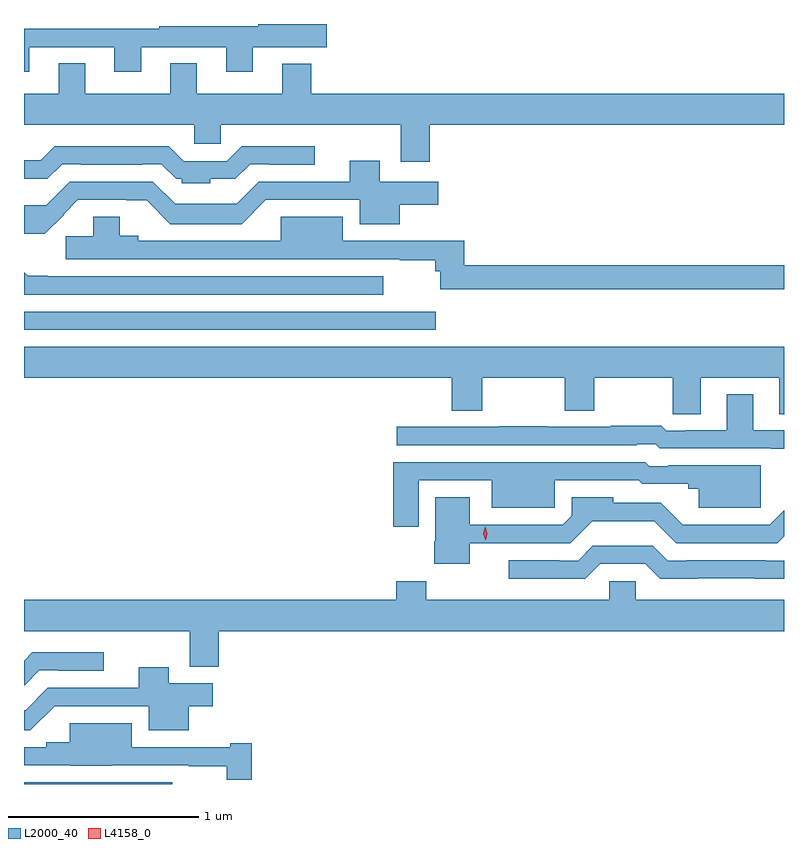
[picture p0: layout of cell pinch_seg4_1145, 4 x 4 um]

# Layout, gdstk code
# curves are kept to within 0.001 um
import gdstk
lib = gdstk.Library(unit=1e-6, precision=1e-09)
def R(c, l, rs):  # rectangles x0, y0, x1, y1
    for r in rs: c.add(gdstk.rectangle(r[:2], r[2:], *l))
def P(c, l, *ps):  # polygons
    for p in ps: c.add(gdstk.Polygon(p, *l))
L2000_40 = (2000, 40)
L4158_0 = (4158, 0)

pinch_seg4_1145 = lib.new_cell('pinch_seg4_1145')
R(pinch_seg4_1145, L2000_40, [(446.901,762.715,447.682,762.723), (446.901,765.105,449.068,765.201)])
P(pinch_seg4_1145, L2000_40, [(446.929,766.593),(447.377,766.593),(447.377,766.464),(447.517,766.464),(447.517,766.593),(447.965,766.593),(447.965,766.464),(448.105,766.464),(448.105,766.592),(448.495,766.592),(448.495,766.715),(448.133,766.715),(448.133,766.702),(447.613,766.702),(447.613,766.689),(446.901,766.689),(446.901,766.464),(446.929,766.464)],
  [(449.036,766.184),(450.901,766.184),(450.901,766.348),(448.412,766.348),(448.412,766.507),(448.259,766.507),(448.259,766.348),(447.811,766.348),(447.811,766.508),(447.671,766.508),(447.671,766.348),(447.223,766.348),(447.223,766.508),(447.083,766.508),(447.083,766.348),(446.901,766.348),(446.901,766.184),(447.798,766.184),(447.798,766.086),(447.936,766.086),(447.936,766.184),(448.883,766.184),(448.883,765.99),(449.036,765.99)],
  [(447.882,765.9),(448.014,765.9),(448.092,765.978),(448.192,765.978),(448.192,765.975),(448.432,765.975),(448.432,766.072),(448.048,766.072),(447.969,765.993),(447.741,765.993),(447.662,766.072),(447.064,766.072),(446.989,765.997),(446.901,765.997),(446.901,765.9),(447.024,765.9),(447.102,765.978),(447.202,765.978),(447.202,765.975),(447.524,765.975),(447.524,765.978),(447.624,765.978),(447.702,765.9),(447.732,765.9),(447.732,765.876),(447.882,765.876)],
  [(447.112,765.712),(447.109,765.715),(447.183,765.789),(447.546,765.788),(447.671,765.662),(448.046,765.662),(448.173,765.789),(448.667,765.789),(448.667,765.662),(448.879,765.662),(448.879,765.764),(449.08,765.764),(449.08,765.886),(448.774,765.886),(448.774,765.994),(448.616,765.994),(448.616,765.885),(448.137,765.885),(448.02,765.768),(447.696,765.768),(447.579,765.885),(447.143,765.885),(447.018,765.761),(446.901,765.761),(446.901,765.612),(447.011,765.612)],
  [(450.901,765.446),(449.219,765.446),(449.219,765.575),(448.982,765.575),(448.982,765.573),(448.579,765.573),(448.579,765.7),(448.253,765.7),(448.253,765.573),(447.501,765.573),(447.501,765.601),(447.406,765.601),(447.406,765.7),(447.266,765.7),(447.266,765.599),(447.12,765.599),(447.12,765.476),(447.37,765.476),(447.37,765.477),(448.879,765.477),(448.879,765.472),(449.066,765.472),(449.066,765.414),(449.091,765.414),(449.091,765.318),(450.901,765.318)],
  [(448.792,765.387),(447.025,765.387),(447.025,765.389),(446.921,765.389),(446.901,765.409),(446.901,765.291),(448.792,765.291)],
  [(450.463,764.852),(450.875,764.852),(450.875,764.662),(450.901,764.662),(450.901,765.016),(446.901,765.016),(446.901,764.852),(449.153,764.852),(449.153,764.68),(449.313,764.68),(449.313,764.852),(449.746,764.852),(449.746,764.68),(449.901,764.68),(449.901,764.852),(450.316,764.852),(450.316,764.662),(450.463,764.662)],
  [(450.901,764.577),(450.739,764.577),(450.739,764.767),(450.599,764.767),(450.599,764.577),(450.382,764.577),(450.382,764.574),(450.282,764.574),(450.256,764.6),(449.989,764.6),(449.989,764.595),(449.657,764.595),(449.657,764.598),(449.401,764.598),(449.401,764.595),(448.863,764.595),(448.863,764.499),(450.125,764.499),(450.125,764.502),(450.225,764.502),(450.246,764.481),(450.835,764.481),(450.835,764.479),(450.901,764.479)],
  [(448.978,764.313),(449.363,764.313),(449.363,764.168),(449.694,764.168),(449.694,764.313),(450.035,764.313),(450.035,764.315),(450.136,764.315),(450.156,764.295),(450.396,764.295),(450.396,764.27),(450.452,764.27),(450.452,764.168),(450.778,764.168),(450.778,764.392),(450.292,764.392),(450.292,764.388),(450.192,764.388),(450.171,764.409),(448.844,764.409),(448.844,764.07),(448.978,764.07)],
  [(449.248,763.983),(449.776,763.983),(449.892,764.099),(450.217,764.099),(450.333,763.983),(450.865,763.983),(450.901,764.019),(450.901,764.155),(450.825,764.079),(450.369,764.079),(450.252,764.196),(450.003,764.196),(450.003,764.224),(449.784,764.224),(449.784,764.127),(449.736,764.079),(449.248,764.079),(449.248,764.224),(449.066,764.224),(449.066,763.992),(449.06,763.992),(449.06,763.874),(449.248,763.874)],
  [(449.934,763.875),(450.171,763.875),(450.25,763.796),(450.901,763.796),(450.901,763.89),(450.806,763.89),(450.806,763.893),(450.388,763.893),(450.388,763.89),(450.288,763.89),(450.21,763.968),(449.895,763.968),(449.817,763.89),(449.717,763.89),(449.717,763.893),(449.451,763.893),(449.451,763.796),(449.855,763.796)],
  [(447.926,763.52),(450.901,763.52),(450.901,763.684),(450.12,763.684),(450.12,763.782),(449.982,763.782),(449.982,763.684),(449.019,763.684),(449.019,763.783),(448.859,763.783),(448.859,763.684),(446.901,763.684),(446.901,763.52),(447.773,763.52),(447.773,763.331),(447.926,763.331)],
  [(446.982,763.314),(447.082,763.314),(447.082,763.311),(447.322,763.311),(447.322,763.408),(446.944,763.408),(446.901,763.365),(446.901,763.236),(446.904,763.236)],
  [(447.062,763.125),(447.557,763.125),(447.557,762.998),(447.769,762.998),(447.769,763.124),(447.895,763.124),(447.895,763.246),(447.664,763.246),(447.664,763.33),(447.506,763.33),(447.506,763.221),(447.027,763.221),(446.91,763.104),(446.901,763.104),(446.901,762.998),(446.935,762.998)],
  [(448.099,762.929),(447.986,762.929),(447.986,762.909),(447.469,762.909),(447.469,763.036),(447.143,763.036),(447.143,762.936),(447.018,762.936),(447.018,762.909),(446.901,762.909),(446.901,762.813),(447.147,762.813),(447.147,762.812),(447.365,762.812),(447.365,762.813),(447.769,762.813),(447.769,762.808),(447.968,762.808),(447.968,762.738),(448.099,762.738)])
P(pinch_seg4_1145, L4158_0, [(449.33,763.998),(449.33,763.998),(449.319,764.033),(449.328,764.068),(449.328,764.068),(449.329,764.068),(449.339,764.033),(449.33,763.998)])

lib.write_gds('pinch_seg4_1145.gds')
